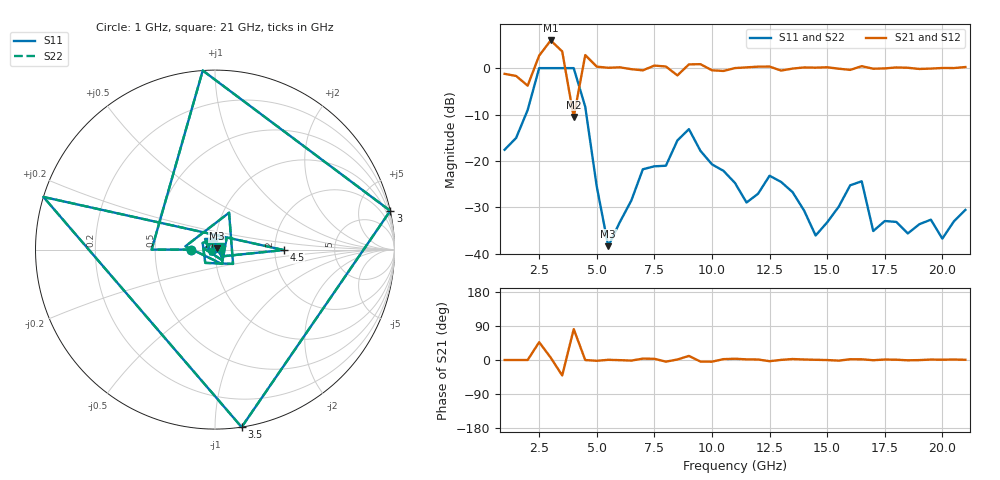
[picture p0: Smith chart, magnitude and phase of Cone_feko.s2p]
! S-parameter export from POSTFEKO
! Filename: Cone_5cm_long
! Creation date: 2020-02-15 11:44:48
# Hz S MA R  5.0000000E+01
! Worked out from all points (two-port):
!   41 points, 1 GHz to 21 GHz, reference 50 ohm
!   highest |S21| = 5.97 dB at 3 GHz (marker M1); lowest = -10.6 dB at 4 GHz (marker M2)
!   |S21| within 3 dB of the highest: 2.541 GHz to 3.523 GHz (982 MHz wide, 32.4 % of centre)
!   lowest |S11| = -38.4 dB at 5.5 GHz (marker M3), VSWR 1.02, Z = 50.9 + j0.828 ohm
!   |S11| at or under -10 dB: start of sweep to 1.921 GHz; 4.548 GHz to end of sweep
!   |S22| runs from -38.4 to 0.0 dB; largest |S21 - S12| = 0
!   S11 on the Smith chart (normalised r, x): 1 GHz: 0.77, -0.00; 3 GHz: 0.00, +9.15; 3.5 GHz: 0.00, -1.16; 4.5 GHz: 2.24, -0.01; 21 GHz: 1.06, +0.02
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1e9  0.1319 -180.0  0.8681 -0.0  0.8681 -0.0  0.1319 -180.0
2e9  0.3529 -180.0  0.6471 -0.0  0.6471 -0.0  0.3529 -180.0
2.5e9  1 93.9  1.365 47.0  1.365 47.0  1 93.9
3e9  1 12.5  1.988 6.2  1.988 6.2  1 12.5
3.5e9  1 -81.5  1.515 -40.7  1.515 -40.7  1 -81.5
4e9  1 162.9  0.2967 81.5  0.2967 81.5  1 162.9
4.5e9  0.3828 -0.4  1.383 -0.1  1.383 -0.1  0.3828 -0.4
5.5e9  0.01203 42.5  1.009 0.5  1.009 0.5  0.01203 42.5
7e9  0.08119 132.9  0.9466 3.6  0.9466 3.6  0.08119 132.9
8e9  0.08863 -64.5  1.041 -4.4  1.041 -4.4  0.08863 -64.5
8.5e9  0.166 173.7  0.8352 1.3  0.8352 1.3  0.166 173.7
9e9  0.2199 69.1  1.098 10.8  1.098 10.8  0.2199 69.1
9.5e9  0.1284 -38.4  1.103 -4.1  1.103 -4.1  0.1284 -38.4
1.1e10  0.05777 90.1  1.002 3.3  1.002 3.3  0.05777 90.1
1.15e10  0.03556 58.1  1.019 1.7  1.019 1.7  0.03556 58.1
1.3e10  0.05928 175.5  0.9409 0.3  0.9409 0.3  0.05928 175.5
1.45e10  0.01567 38.7  1.012 0.6  1.012 0.6  0.01567 38.7
1.65e10  0.06027 34.8  1.05 1.9  1.05 1.9  0.06027 34.8
1.7e10  0.01751 -147.4  0.9853 -0.5  0.9853 -0.5  0.01751 -147.4
1.8e10  0.02198 37.6  1.017 0.8  1.017 0.8  0.02198 37.6
2e10  0.01451 74.7  1.004 0.8  1.004 0.8  0.01451 74.7
2.1e10  0.02959 20.6  1.028 0.6  1.028 0.6  0.02959 20.6
